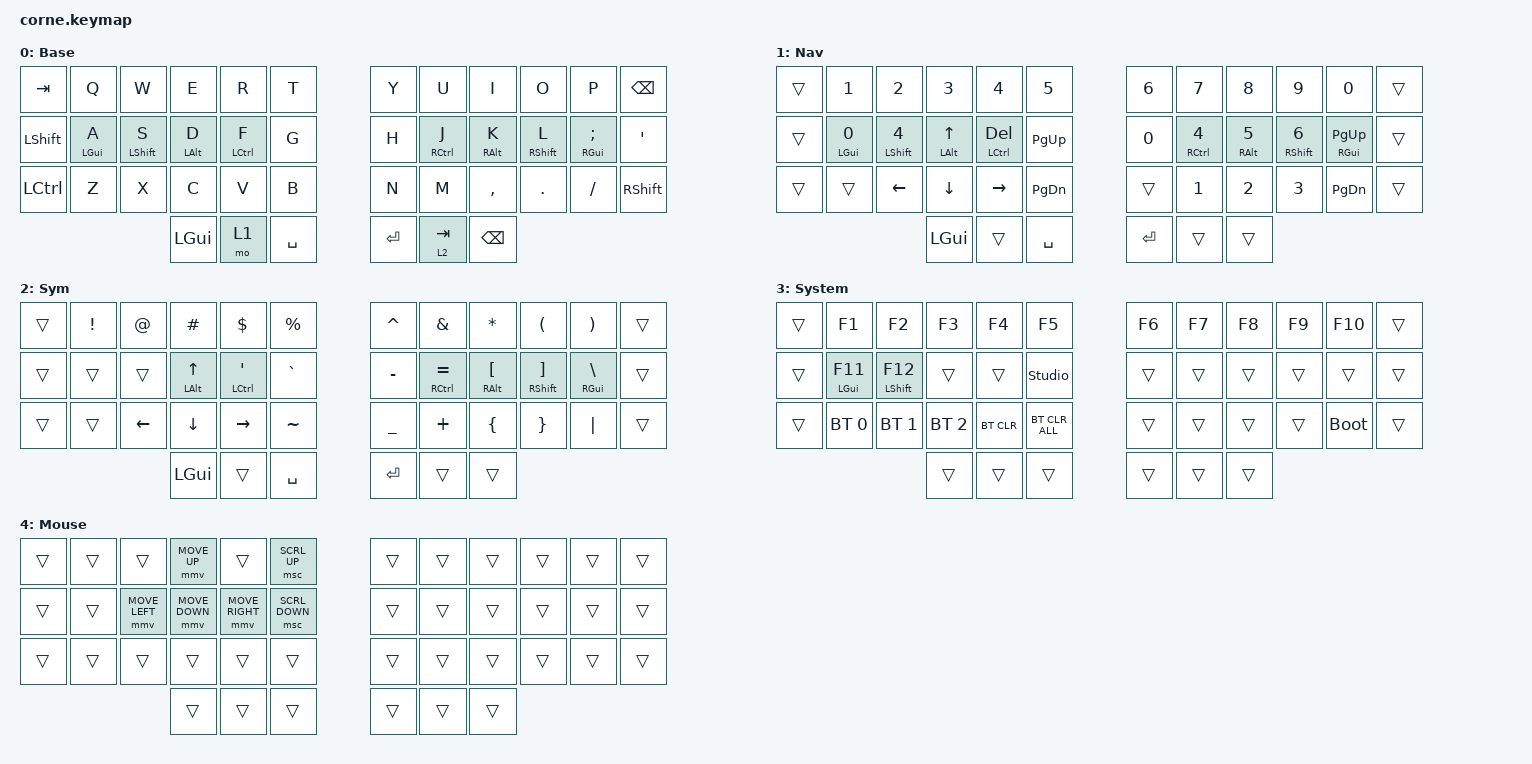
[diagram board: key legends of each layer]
/*
 * Copyright (c) 2020 The ZMK Contributors
 *
 * SPDX-License-Identifier: MIT
 */

#include <behaviors.dtsi>
#include <dt-bindings/zmk/keys.h>
#include <dt-bindings/zmk/bt.h>
#include <dt-bindings/zmk/outputs.h>
#include <dt-bindings/zmk/ext_power.h>
#include <dt-bindings/led/led.h>
#include <dt-bindings/zmk/backlight.h>
#include <dt-bindings/zmk/rgb.h>
#include <dt-bindings/zmk/reset.h>
#include <dt-bindings/zmk/pointing.h>

#define DEF 0
#define NAV 1
#define SYM 2
#define ADJ 3
#define EXTRA 4

&led_strip {
    chain-length = <27>;
};

/ {
    behaviors {
        hm: homerow_mods {
            compatible = "zmk,behavior-hold-tap";
            label = "HOMEROW_MODS";
            #binding-cells = <2>;
            tapping-term-ms = <200>;
            quick_tap_ms = <0>;
            flavor = "tap-preferred";
            bindings = <&kp>, <&kp>;

            quick-tap-ms = <180>;
            global-quick-tap;
        };

        para: para {
            compatible = "zmk,behavior-tap-dance";
            label = "PARA";
            #binding-cells = <0>;
            bindings = <&kp LEFT_PARENTHESIS>, <&kp RIGHT_PARENTHESIS>;
        };

        caps: caps {
            compatible = "zmk,behavior-caps-word";
            label = "CAPS";
            #binding-cells = <0>;
            continue-list = <MINUS BACKSPACE>;
        };

        paraless: paraless {
            compatible = "zmk,behavior-mod-morph";
            label = "PARALESS";
            bindings = <&kp LEFT_PARENTHESIS>, <&kp LESS_THAN>;

            #binding-cells = <0>;
            mods = <(MOD_LSFT)>;
        };

        paragreat: paragreat {
            compatible = "zmk,behavior-mod-morph";
            label = "PARAGREAT";
            bindings = <&kp RIGHT_PARENTHESIS>, <&kp GREATER_THAN>;

            #binding-cells = <0>;
            mods = <(MOD_LSFT)>;
        };
    };

    combos {
        compatible = "zmk,combos";

        escape {
            bindings = <&kp ESCAPE>;
            key-positions = <13 29>;
        };

        delete {
            bindings = <&kp DELETE>;
            key-positions = <15 21>;
        };

        perc {
            bindings = <&kp PERCENT>;
            key-positions = <5 17>;
        };

        equal {
            bindings = <&kp EQUAL>;
            key-positions = <28 16>;
        };

        dollar {
            bindings = <&kp DOLLAR>;
            key-positions = <4 16>;
        };

        pound {
            bindings = <&kp POUND>;
            key-positions = <3 15>;
        };

        at {
            bindings = <&kp AT>;
            key-positions = <2 14>;
        };

        backslash {
            bindings = <&kp BACKSLASH>;
            key-positions = <26 14>;
        };

        copy {
            bindings = <&kp K_COPY>;
            key-positions = <28 27>;
        };

        paste {
            bindings = <&kp K_PASTE>;
            key-positions = <26 27>;
        };

        star {
            bindings = <&kp STAR>;
            key-positions = <8 20>;
        };

        slash {
            bindings = <&kp SLASH>;
            key-positions = <32 20>;
        };

        plus {
            bindings = <&kp PLUS>;
            key-positions = <7 19>;
        };

        minus {
            bindings = <&kp KP_MINUS>;
            key-positions = <31 19>;
        };

        underscore {
            bindings = <&kp UNDER>;
            key-positions = <30 18>;
        };

        leftbrack {
            bindings = <&kp LEFT_BRACKET>;
            key-positions = <31 32>;
        };

        rightbrack {
            bindings = <&kp RIGHT_BRACKET>;
            key-positions = <33 32>;
        };

        para-less {
            bindings = <&paraless>;
            key-positions = <20 19>;
        };

        para-great {
            bindings = <&paragreat>;
            key-positions = <20 21>;
        };
    };

    //

    keymap {
        compatible = "zmk,keymap";

        DEF {
                display-name = "Base";
            // -----------------------------------------------------------------------------------------
            // |  Q  |  W  |  E  |  R  |  T  |   |  Y  |  U   |  I  |  O  |  P  |
            // |  A  |  S  |  D  |  F  |  G  |   |  H  |  J   |  K  |  L  |  ;  |
            // |  Z  |  X  |  C  |  V  |  B  |   |  N  |  M   |  ,  |  .  |  /  |
            // | GUI | CTRL | SHFT | LWR | SPC |   | ENT | RSE  | BKSP | ALT | ESC |

            bindings = <
&kp TAB    &kp Q       &kp W        &kp E       &kp R        &kp T        &kp Y    &kp U        &kp I          &kp O        &kp P          &kp BACKSPACE
&kp LSHFT  &hm LGUI A  &hm LSHFT S  &hm LALT D  &hm LCTRL F  &kp G        &kp H    &hm RCTRL J  &hm RALT K     &hm RSHFT L  &hm RGUI SEMI  &kp SQT
&kp LCTRL  &kp Z       &kp X        &kp C       &kp V        &kp B        &kp N    &kp M        &kp COMMA      &kp DOT      &kp FSLH       &kp RSHFT
                                    &kp LGUI    &mo 1        &kp SPACE    &kp RET  &lt 2 TAB    &kp BACKSPACE
            >;
        };

        NAV {
                display-name = "Nav";
            // -----------------------------------------------------------------------------------------
            // |  TAB |  1  |  2  |  3  |  4  |  5  |   |  6  |  7  |  8  |  9  |  0  | BKSP |
            // | BTCLR| BT1 | BT2 | BT3 | BT4 | BT5 |   | LFT | DWN |  UP | RGT |     |      |
            // | SHFT |     |     |     |     |     |   |     |     |     |     |     |      |
            // | GUI | CTRL | SHFT | LWR | SPC |   | ENT | RSE  | BKSP | ALT | ESC |

            bindings = <
&trans  &kp N1       &kp N2        &kp N3             &kp N4           &kp N5           &kp N6   &kp N7        &kp N8       &kp N9        &kp N0            &trans
&trans  &hm LGUI N0  &hm LSHFT N4  &hm LALT UP_ARROW  &hm LCTRL DEL    &kp PAGE_UP      &kp N0   &hm RCTRL N4  &hm RALT N5  &hm RSHFT N6  &hm RGUI PAGE_UP  &trans
&trans  &trans       &kp LEFT      &kp DOWN           &kp RIGHT_ARROW  &kp PAGE_DOWN    &trans   &kp N1        &kp N2       &kp N3        &kp PAGE_DOWN     &trans
                                   &kp LGUI           &trans           &kp SPACE        &kp RET  &trans        &trans
            >;
        };

        SYM {
                display-name = "Sym";
            // -----------------------------------------------------------------------------------------
            // |  TAB |  !  |  @  |  #  |  $  |  %  |   |  ^  |  &  |  *  |  (  |  )  | BKSP |
            // | CTRL |     |     |     |     |     |   |  -  |  =  |  [  |  ]  |  \  |  `   |
            // | SHFT |     |     |     |     |     |   |  _  |  +  |  {  |  }  | "|" |  ~   |
            //                    | GUI |     | SPC |   | ENT |     | ALT |

            bindings = <
&trans  &kp EXCL  &kp AT          &kp HASH           &kp DLLR         &kp PRCNT    &kp CARET  &kp AMPS         &kp ASTRK      &kp LEFT_PARENTHESIS  &kp RPAR       &trans
&trans  &trans    &trans          &hm LALT UP_ARROW  &hm LCTRL SQT    &kp GRAVE    &kp MINUS  &hm RCTRL EQUAL  &hm RALT LBKT  &hm RSHFT RBKT        &hm RGUI BSLH  &trans
&trans  &trans    &kp LEFT_ARROW  &kp DOWN_ARROW     &kp RIGHT_ARROW  &kp TILDE    &kp UNDER  &kp PLUS         &kp LBRC       &kp RBRC              &kp PIPE       &trans
                                  &kp LGUI           &trans           &kp SPACE    &kp RET    &trans           &trans
            >;
        };

        ADJ {
                display-name = "System";
            bindings = <
&trans  &kp F1        &kp F2         &kp F3        &kp F4      &kp F5            &kp F6  &kp F7  &kp F8  &kp F9  &kp F10      &trans
&trans  &hm LGUI F11  &hm LSHFT F12  &trans        &trans      &studio_unlock            &trans  &trans  &trans  &trans  &trans       &trans
&trans  &bt BT_SEL 0  &bt BT_SEL 1   &bt BT_SEL 2  &bt BT_CLR  &bt BT_CLR_ALL    &trans  &trans  &trans  &trans  &bootloader  &trans
                                     &trans        &trans      &trans            &trans  &trans  &trans
            >;
        };

        EXTRA {
                display-name = "Mouse";
            bindings = <
&trans  &trans       &trans         &mmv MOVE_UP       &trans      &msc SCRL_UP    &trans  &trans  &trans  &trans  &trans      &trans
&trans  &trans       &mmv MOVE_LEFT &mmv MOVE_DOWN     &mmv MOVE_RIGHT   &msc SCRL_DOWN            &trans  &trans  &trans  &trans  &trans       &trans
&trans  &trans       &trans   &trans  &trans  &trans    &trans  &trans  &trans  &trans  &trans  &trans
                                     &trans        &trans      &trans            &trans  &trans  &trans
            >;
        };
    };

    conditional_layers {
        compatible = "zmk,conditional-layers";

        l3 {
            if-layers = <1 2>;
            then-layer = <3>;
        };
    };
};
